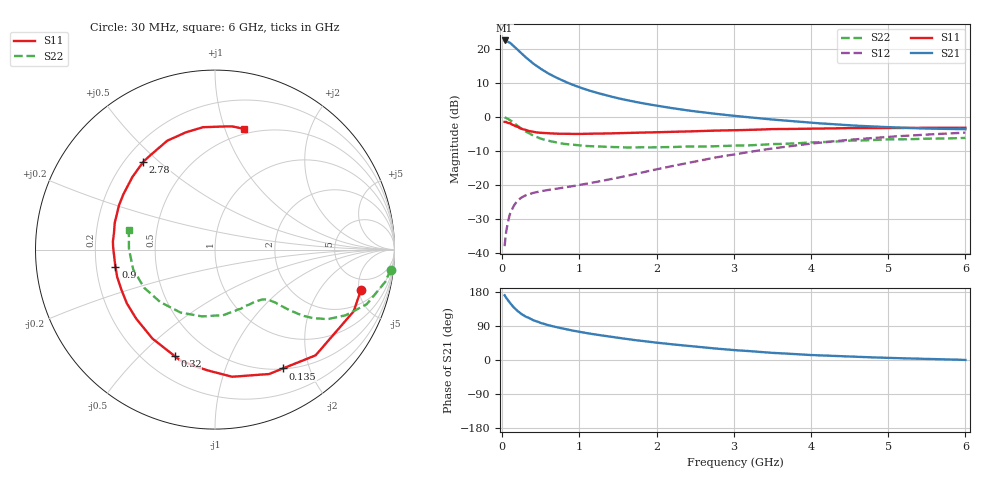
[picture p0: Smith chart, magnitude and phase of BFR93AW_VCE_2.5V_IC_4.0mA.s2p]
! Infineon Technologies  Discrete & RF Semiconductors
! BFR93AW
! VCE =  2.5 V,  IC =  4.0 mA
! Common Emitter S-Parameters:  Nov 2015
# GHz  S  MA  R  50
!  f  S11  S21  S12  S22
! GHz  MAG  ANG  MAG  ANG  MAG  ANG  MAG  ANG
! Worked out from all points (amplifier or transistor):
!   206 points, 30 MHz to 6 GHz, reference 50 ohm
!   highest |S21| = 22.4 dB at 30 MHz (marker M1)
!   |S21| within 3 dB of that: start of sweep to 212.3 MHz
!   unconditionally stable (mu >= 1): 997 MHz to 2.392 GHz
!   at 200 MHz: K = 0.26, MSG = 22.0 dB, |S12| = -24.4 dB
!   at 1.56 GHz: K = 1.12, MAG = 9.2 dB, |S12| = -17.5 dB
!   at 6 GHz: K = 0.96, MSG = 0.5 dB, |S12| = -4.6 dB
!   S11 on the Smith chart (normalised r, x): 30 MHz: 3.39, -5.28; 135 MHz: 0.51, -1.61; 320 MHz: 0.32, -0.64; 900 MHz: 0.28, -0.08; 2.78 GHz: 0.27, +0.44; 6 GHz: 0.45, +1.17
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0.03  0.844 -15.4  13.13 170.7  0.0128 79.8  0.9856 -6.5
0.05  0.8456 -24.0  13.03 164.3  0.0207 77.6  0.9659 -10.7
0.1  0.8132 -46.4  12.15 150.4  0.0381 67.2  0.8984 -19.8
0.135  0.7628 -60.2  11.17 142.2  0.0464 60.4  0.8384 -24.5
0.15  0.7559 -66.5  10.83 138.3  0.0501 58.1  0.8145 -26.7
0.195  0.7164 -80.7  9.705 129.9  0.0591 52.7  0.745 -31.2
0.24  0.6749 -93.2  8.667 122.7  0.0649 48.6  0.6813 -34.2
0.3  0.6467 -107.5  7.512 114.8  0.0708 44.6  0.6142 -36.9
0.32  0.634 -110.8  7.203 113.2  0.072 43.9  0.5979 -37.3
0.4  0.6061 -125.1  6.04 105.0  0.0771 41.6  0.5328 -39.2
0.5  0.5838 -138.7  5.041 97.6  0.0815 40.4  0.479 -40.5
0.6  0.5753 -148.5  4.291 91.7  0.0853 41.1  0.4457 -41.3
0.7  0.5672 -157.0  3.757 86.7  0.0885 42.2  0.4222 -42.5
0.9  0.5635 -169.9  2.982 78.1  0.0963 45.6  0.3921 -45.0
1.04  0.5639 -177.3  2.615 73.0  0.1025 48.1  0.3789 -47.7
1.5  0.5784 164.8  1.872 58.6  0.1288 56.4  0.3611 -58.0
2.02  0.5964 148.6  1.445 45.3  0.1723 61.5  0.36 -72.6
2.78  0.6306 129.5  1.103 30.0  0.2563 61.4  0.3723 -95.2
3.1  0.6406 122.1  1.01 24.9  0.2936 59.2  0.3806 -105.1
4.1  0.6743 102.3  0.806 12.3  0.4168 48.5  0.4252 -139.5
5.1  0.6864 87.1  0.7 5.0  0.5183 35.2  0.4688 -169.2
6  0.6922 76.3  0.66 0.2  0.5877 23.8  0.4921 167.4
